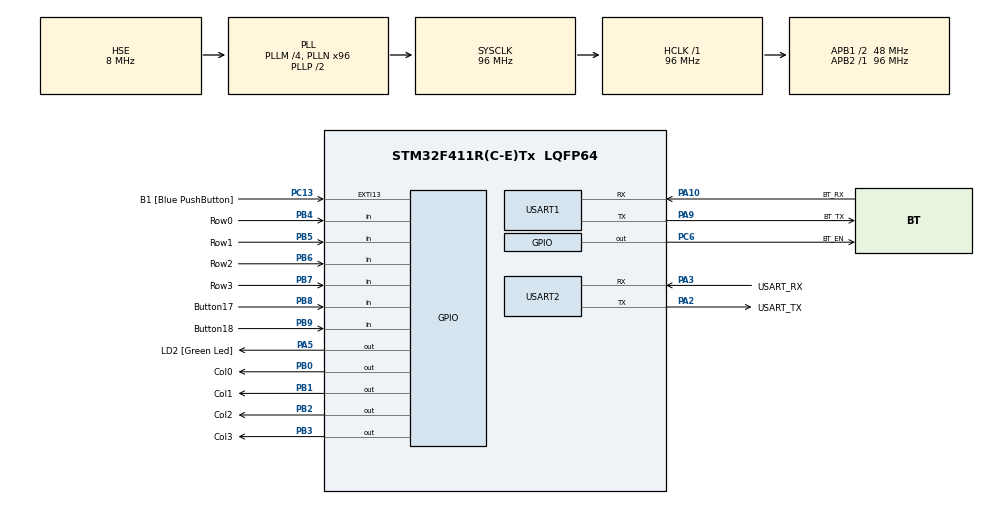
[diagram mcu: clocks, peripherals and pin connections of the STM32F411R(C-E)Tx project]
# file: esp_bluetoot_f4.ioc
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Mcu.Family=STM32F4
Mcu.Name=STM32F411R(C-E)Tx
Mcu.Package=LQFP64
NVIC.PriorityGroup=NVIC_PRIORITYGROUP_0
NVIC.TIM2_IRQn=true\:0\:0\:false\:false\:true\:true\:true\:true
NVIC.TIM3_IRQn=true\:0\:0\:false\:false\:true\:true\:true\:true
PA10.GPIO_Label=BT_RX
PA10.Mode=Asynchronous
PA10.Signal=USART1_RX
PA13.GPIO_Label=TMS
PA13.Mode=Serial_Wire
PA13.Signal=SYS_JTMS-SWDIO
PA14.GPIO_Label=TCK
PA14.Mode=Serial_Wire
PA14.Signal=SYS_JTCK-SWCLK
PA2.GPIO_Label=USART_TX
PA2.Mode=Asynchronous
PA2.Signal=USART2_TX
PA3.GPIO_Label=USART_RX
PA3.Mode=Asynchronous
PA3.Signal=USART2_RX
PA5.GPIO_Label=LD2 [Green Led]
PA5.Signal=GPIO_Output
PA9.GPIO_Label=BT_TX
PA9.Mode=Asynchronous
PA9.Signal=USART1_TX
PB0.GPIO_Label=Col0
PB0.GPIO_ModeDefaultOutputPP=GPIO_MODE_OUTPUT_OD
PB0.GPIO_PuPd=GPIO_NOPULL
PB0.Signal=GPIO_Output
PB1.GPIO_Label=Col1
PB1.GPIO_ModeDefaultOutputPP=GPIO_MODE_OUTPUT_OD
PB1.GPIO_PuPd=GPIO_NOPULL
PB1.Signal=GPIO_Output
PB2.GPIO_Label=Col2
PB2.GPIO_ModeDefaultOutputPP=GPIO_MODE_OUTPUT_OD
PB2.GPIO_PuPd=GPIO_NOPULL
PB2.Signal=GPIO_Output
PB3.GPIO_Label=Col3
PB3.GPIO_ModeDefaultOutputPP=GPIO_MODE_OUTPUT_OD
PB3.GPIO_PuPd=GPIO_NOPULL
PB3.Signal=GPIO_Output
PB4.GPIO_Label=Row0
PB4.GPIO_PuPd=GPIO_PULLUP
PB4.Signal=GPIO_Input
PB5.GPIO_Label=Row1
PB5.GPIO_PuPd=GPIO_PULLUP
PB5.Signal=GPIO_Input
PB6.GPIO_Label=Row2
PB6.GPIO_PuPd=GPIO_PULLUP
PB6.Signal=GPIO_Input
PB7.GPIO_Label=Row3
PB7.GPIO_PuPd=GPIO_PULLUP
PB7.Signal=GPIO_Input
PB8.GPIO_Label=Button17
PB8.GPIO_PuPd=GPIO_PULLDOWN
PB8.Signal=GPIO_Input
PB9.GPIO_Label=Button18
PB9.GPIO_PuPd=GPIO_PULLDOWN
PB9.Signal=GPIO_Input
PC13-ANTI_TAMP.GPIO_Label=B1 [Blue PushButton]
PC13-ANTI_TAMP.GPIO_ModeDefaultEXTI=GPIO_MODE_IT_FALLING
PC13-ANTI_TAMP.Signal=GPXTI13
PC14-OSC32_IN.Mode=LSE-External-Oscillator
PC14-OSC32_IN.Signal=RCC_OSC32_IN
PC15-OSC32_OUT.Mode=LSE-External-Oscillator
PC15-OSC32_OUT.Signal=RCC_OSC32_OUT
PC6.GPIO_Label=BT_EN
PC6.Signal=GPIO_Output
PH0\ -\ OSC_IN.Mode=HSE-External-Clock-Source
PH0\ -\ OSC_IN.Signal=RCC_OSC_IN
PH1\ -\ OSC_OUT.Mode=HSE-External-Clock-Source
PH1\ -\ OSC_OUT.Signal=RCC_OSC_OUT
ProjectManager.HeapSize=0x200
ProjectManager.StackSize=0x400
ProjectManager.TargetToolchain=STM32CubeIDE
RCC.48MHZClocksFreq_Value=48000000
RCC.AHBFreq_Value=96000000
RCC.APB1CLKDivider=RCC_HCLK_DIV2
RCC.APB1Freq_Value=48000000
RCC.APB1TimFreq_Value=96000000
RCC.APB2Freq_Value=96000000
RCC.APB2TimFreq_Value=96000000
RCC.CortexFreq_Value=96000000
RCC.FLatency-AdvancedSettings=FLASH_LATENCY_3
RCC.HCLKFreq_Value=96000000
RCC.HSE_VALUE=8000000
RCC.HSI_VALUE=16000000
RCC.PLLM=4
RCC.PLLN=96
RCC.PLLSourceVirtual=RCC_PLLSOURCE_HSE
RCC.SYSCLKFreq_VALUE=96000000
RCC.SYSCLKSource=RCC_SYSCLKSOURCE_PLLCLK
RCC.VCOOutputFreq_Value=192000000
TIM2.Period=100-1
TIM2.Prescaler=96-1
TIM3.Period=1000-1
TIM3.Prescaler=800-1
USART1.VirtualMode=VM_ASYNC
USART2.VirtualMode=VM_ASYNC
VP_TIM2_VS_ClockSourceINT.Mode=Internal
VP_TIM3_VS_ClockSourceINT.Mode=Internal
board=NUCLEO-F411RE

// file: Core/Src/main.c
/* USER CODE BEGIN Header */
/**
  ******************************************************************************
  * @file           : main.c
  * @brief          : Main program body
  ******************************************************************************
  * @attention
  *
  * Copyright (c) 2024 STMicroelectronics.
  * All rights reserved.
  *
  * This software is licensed under terms that can be found in the LICENSE file
  * in the root directory of this software component.
  * If no LICENSE file comes with this software, it is provided AS-IS.
  *
  ******************************************************************************
  */
/* USER CODE END Header */
#include "main.h"

/* USER CODE BEGIN Includes */
#include <stdio.h>
#include <string.h>
/* USER CODE END Includes */

TIM_HandleTypeDef htim2;
TIM_HandleTypeDef htim3;

UART_HandleTypeDef huart1;
UART_HandleTypeDef huart2;

/* USER CODE BEGIN PV */
volatile int col = 0;
uint8_t buffer[] = {0, 0, 0};
uint8_t cleaned_buffer[] = {0, 0, 0};
uint8_t cleaned_buffer_bt[] = {0xFD, 0, 0, 0};
/* USER CODE END PV */

void SystemClock_Config(void);
static void MX_GPIO_Init(void);
static void MX_USART2_UART_Init(void);
static void MX_USART1_UART_Init(void);
static void MX_TIM2_Init(void);
static void MX_TIM3_Init(void);

/* USER CODE BEGIN 0 */
#ifdef __GNUC__
  /* With GCC, small printf (option LD Linker->Libraries->Small printf
     set to 'Yes') calls __io_putchar() */
int __io_putchar(int ch)
#else
int fputc(int ch, FILE *f)
#endif /* __GNUC__ */
{
  /* Place your implementation of fputc here */
  /* e.g. write a character to the UART3 and Loop until the end of transmission */
  HAL_UART_Transmit(&huart2, (uint8_t *)&ch, 1, HAL_MAX_DELAY);
  return ch;
}
/* USER CODE END 0 */

int main(void)
{

  /* MCU Configuration--------------------------------------------------------*/

  /* Reset of all peripherals, Initializes the Flash interface and the Systick. */
  HAL_Init();

  /* Configure the system clock */
  SystemClock_Config();

  /* Initialize all configured peripherals */
  MX_GPIO_Init();
  MX_USART2_UART_Init();
  MX_USART1_UART_Init();
  MX_TIM2_Init();
  MX_TIM3_Init();
  /* USER CODE BEGIN 2 */
  HAL_TIM_Base_Start_IT(&htim2);
  HAL_TIM_Base_Start_IT(&htim3);
  HAL_GPIO_WritePin(BT_EN_GPIO_Port, BT_EN_Pin, GPIO_PIN_SET);
  /* USER CODE END 2 */

  /* Infinite loop */
  while (1)
  {

  }
}

void SystemClock_Config(void)
{
  RCC_OscInitTypeDef RCC_OscInitStruct = {0};
  RCC_ClkInitTypeDef RCC_ClkInitStruct = {0};

  /** Configure the main internal regulator output voltage
  */
  __HAL_RCC_PWR_CLK_ENABLE();
  __HAL_PWR_VOLTAGESCALING_CONFIG(PWR_REGULATOR_VOLTAGE_SCALE1);

  /** Initializes the RCC Oscillators according to the specified parameters
  * in the RCC_OscInitTypeDef structure.
  */
  RCC_OscInitStruct.OscillatorType = RCC_OSCILLATORTYPE_HSE;
  RCC_OscInitStruct.HSEState = RCC_HSE_BYPASS;
  RCC_OscInitStruct.PLL.PLLState = RCC_PLL_ON;
  RCC_OscInitStruct.PLL.PLLSource = RCC_PLLSOURCE_HSE;
  RCC_OscInitStruct.PLL.PLLM = 4;
  RCC_OscInitStruct.PLL.PLLN = 96;
  RCC_OscInitStruct.PLL.PLLP = RCC_PLLP_DIV2;
  RCC_OscInitStruct.PLL.PLLQ = 4;
  if (HAL_RCC_OscConfig(&RCC_OscInitStruct) != HAL_OK)
  {
    Error_Handler();
  }

  /** Initializes the CPU, AHB and APB buses clocks
  */
  RCC_ClkInitStruct.ClockType = RCC_CLOCKTYPE_HCLK|RCC_CLOCKTYPE_SYSCLK
                              |RCC_CLOCKTYPE_PCLK1|RCC_CLOCKTYPE_PCLK2;
  RCC_ClkInitStruct.SYSCLKSource = RCC_SYSCLKSOURCE_PLLCLK;
  RCC_ClkInitStruct.AHBCLKDivider = RCC_SYSCLK_DIV1;
  RCC_ClkInitStruct.APB1CLKDivider = RCC_HCLK_DIV2;
  RCC_ClkInitStruct.APB2CLKDivider = RCC_HCLK_DIV1;

  if (HAL_RCC_ClockConfig(&RCC_ClkInitStruct, FLASH_LATENCY_3) != HAL_OK)
  {
    Error_Handler();
  }
}

static void MX_TIM2_Init(void)
{

  TIM_ClockConfigTypeDef sClockSourceConfig = {0};
  TIM_MasterConfigTypeDef sMasterConfig = {0};

  htim2.Instance = TIM2;
  htim2.Init.Prescaler = 96-1;
  htim2.Init.CounterMode = TIM_COUNTERMODE_UP;
  htim2.Init.Period = 100-1;
  htim2.Init.ClockDivision = TIM_CLOCKDIVISION_DIV1;
  htim2.Init.AutoReloadPreload = TIM_AUTORELOAD_PRELOAD_DISABLE;
  if (HAL_TIM_Base_Init(&htim2) != HAL_OK)
  {
    Error_Handler();
  }
  sClockSourceConfig.ClockSource = TIM_CLOCKSOURCE_INTERNAL;
  if (HAL_TIM_ConfigClockSource(&htim2, &sClockSourceConfig) != HAL_OK)
  {
    Error_Handler();
  }
  sMasterConfig.MasterOutputTrigger = TIM_TRGO_RESET;
  sMasterConfig.MasterSlaveMode = TIM_MASTERSLAVEMODE_DISABLE;
  if (HAL_TIMEx_MasterConfigSynchronization(&htim2, &sMasterConfig) != HAL_OK)
  {
    Error_Handler();
  }

}

static void MX_TIM3_Init(void)
{

  TIM_ClockConfigTypeDef sClockSourceConfig = {0};
  TIM_MasterConfigTypeDef sMasterConfig = {0};

  htim3.Instance = TIM3;
  htim3.Init.Prescaler = 800-1;
  htim3.Init.CounterMode = TIM_COUNTERMODE_UP;
  htim3.Init.Period = 1000-1;
  htim3.Init.ClockDivision = TIM_CLOCKDIVISION_DIV1;
  htim3.Init.AutoReloadPreload = TIM_AUTORELOAD_PRELOAD_DISABLE;
  if (HAL_TIM_Base_Init(&htim3) != HAL_OK)
  {
    Error_Handler();
  }
  sClockSourceConfig.ClockSource = TIM_CLOCKSOURCE_INTERNAL;
  if (HAL_TIM_ConfigClockSource(&htim3, &sClockSourceConfig) != HAL_OK)
  {
    Error_Handler();
  }
  sMasterConfig.MasterOutputTrigger = TIM_TRGO_RESET;
  sMasterConfig.MasterSlaveMode = TIM_MASTERSLAVEMODE_DISABLE;
  if (HAL_TIMEx_MasterConfigSynchronization(&htim3, &sMasterConfig) != HAL_OK)
  {
    Error_Handler();
  }

}

static void MX_USART1_UART_Init(void)
{

  huart1.Instance = USART1;
  huart1.Init.BaudRate = 115200;
  huart1.Init.WordLength = UART_WORDLENGTH_8B;
  huart1.Init.StopBits = UART_STOPBITS_1;
  huart1.Init.Parity = UART_PARITY_NONE;
  huart1.Init.Mode = UART_MODE_TX_RX;
  huart1.Init.HwFlowCtl = UART_HWCONTROL_NONE;
  huart1.Init.OverSampling = UART_OVERSAMPLING_16;
  if (HAL_UART_Init(&huart1) != HAL_OK)
  {
    Error_Handler();
  }

}

static void MX_USART2_UART_Init(void)
{

  huart2.Instance = USART2;
  huart2.Init.BaudRate = 115200;
  huart2.Init.WordLength = UART_WORDLENGTH_8B;
  huart2.Init.StopBits = UART_STOPBITS_1;
  huart2.Init.Parity = UART_PARITY_NONE;
  huart2.Init.Mode = UART_MODE_TX_RX;
  huart2.Init.HwFlowCtl = UART_HWCONTROL_NONE;
  huart2.Init.OverSampling = UART_OVERSAMPLING_16;
  if (HAL_UART_Init(&huart2) != HAL_OK)
  {
    Error_Handler();
  }

}

static void MX_GPIO_Init(void)
{
  GPIO_InitTypeDef GPIO_InitStruct = {0};

  /* GPIO Ports Clock Enable */
  __HAL_RCC_GPIOC_CLK_ENABLE();
  __HAL_RCC_GPIOH_CLK_ENABLE();
  __HAL_RCC_GPIOA_CLK_ENABLE();
  __HAL_RCC_GPIOB_CLK_ENABLE();

  /*Configure GPIO pin Output Level */
  HAL_GPIO_WritePin(LD2_GPIO_Port, LD2_Pin, GPIO_PIN_RESET);

  /*Configure GPIO pin Output Level */
  HAL_GPIO_WritePin(GPIOB, Col0_Pin|Col1_Pin|Col2_Pin|Col3_Pin, GPIO_PIN_RESET);

  /*Configure GPIO pin Output Level */
  HAL_GPIO_WritePin(BT_EN_GPIO_Port, BT_EN_Pin, GPIO_PIN_RESET);

  /*Configure GPIO pin : B1_Pin */
  GPIO_InitStruct.Pin = B1_Pin;
  GPIO_InitStruct.Mode = GPIO_MODE_IT_FALLING;
  GPIO_InitStruct.Pull = GPIO_NOPULL;
  HAL_GPIO_Init(B1_GPIO_Port, &GPIO_InitStruct);

  /*Configure GPIO pin : LD2_Pin */
  GPIO_InitStruct.Pin = LD2_Pin;
  GPIO_InitStruct.Mode = GPIO_MODE_OUTPUT_PP;
  GPIO_InitStruct.Pull = GPIO_NOPULL;
  GPIO_InitStruct.Speed = GPIO_SPEED_FREQ_LOW;
  HAL_GPIO_Init(LD2_GPIO_Port, &GPIO_InitStruct);

  /*Configure GPIO pins : Col0_Pin Col1_Pin Col2_Pin Col3_Pin */
  GPIO_InitStruct.Pin = Col0_Pin|Col1_Pin|Col2_Pin|Col3_Pin;
  GPIO_InitStruct.Mode = GPIO_MODE_OUTPUT_OD;
  GPIO_InitStruct.Pull = GPIO_NOPULL;
  GPIO_InitStruct.Speed = GPIO_SPEED_FREQ_LOW;
  HAL_GPIO_Init(GPIOB, &GPIO_InitStruct);

  /*Configure GPIO pin : BT_EN_Pin */
  GPIO_InitStruct.Pin = BT_EN_Pin;
  GPIO_InitStruct.Mode = GPIO_MODE_OUTPUT_PP;
  GPIO_InitStruct.Pull = GPIO_NOPULL;
  GPIO_InitStruct.Speed = GPIO_SPEED_FREQ_LOW;
  HAL_GPIO_Init(BT_EN_GPIO_Port, &GPIO_InitStruct);

  /*Configure GPIO pins : Row0_Pin Row1_Pin Row2_Pin Row3_Pin */
  GPIO_InitStruct.Pin = Row0_Pin|Row1_Pin|Row2_Pin|Row3_Pin;
  GPIO_InitStruct.Mode = GPIO_MODE_INPUT;
  GPIO_InitStruct.Pull = GPIO_PULLUP;
  HAL_GPIO_Init(GPIOB, &GPIO_InitStruct);

  /*Configure GPIO pins : Button17_Pin Button18_Pin */
  GPIO_InitStruct.Pin = Button17_Pin|Button18_Pin;
  GPIO_InitStruct.Mode = GPIO_MODE_INPUT;
  GPIO_InitStruct.Pull = GPIO_PULLDOWN;
  HAL_GPIO_Init(GPIOB, &GPIO_InitStruct);

}

/* USER CODE BEGIN 4 */
void buttons_init(void) {
	  GPIOB->BSRR = 0xf;
	  GPIOB->BSRR = 0x1 << 16;
}

void drive_column(void) {
	col = (col + 1) & 0x3;
	GPIOB->BSRR = 0xf;
	GPIOB->BSRR = 0x1 << (col + 16);
}

uint8_t read_rows(void) {
	return ~((GPIOB->IDR & 0xf0) >> 4) & 0xf;
}

void clean_buffer_bt(void) {
	cleaned_buffer_bt[1] = cleaned_buffer[0];
	cleaned_buffer_bt[2] = cleaned_buffer[1];
	cleaned_buffer_bt[3] = cleaned_buffer[2];
	printf("cleaned_buffer_bt, 0:%X, 1:%X, 2:%X, 3:%X\r\n", cleaned_buffer_bt[0], cleaned_buffer_bt[1], cleaned_buffer_bt[2], cleaned_buffer_bt[3]);
}

void clean_buffer(void) {
	cleaned_buffer[0] = buffer[0];
	cleaned_buffer[1] = buffer[1];
	cleaned_buffer[2] = buffer[2] & 0x01;
	if (cleaned_buffer[0] & 0x01 && cleaned_buffer[0] & 0x04) {
		cleaned_buffer[0] &= ~0x04;
	}
	if (cleaned_buffer[0] & 0x02 && cleaned_buffer[0] & 0x08) {
		cleaned_buffer[0] &= ~0x0A;
	}
}

void right_stick_emulate(void) {
	if (buffer[2] & 0x02) {
//		printf("cleaning %X, ", cleaned_buffer[2]);
//		printf("[0], %X\r\n", cleaned_buffer[0] & 0x0f);
		cleaned_buffer[2] |= ((cleaned_buffer[0] & 0x0f) << 1);
//		printf("cleaned %X\r\n", cleaned_buffer[2]);
		cleaned_buffer[0] &= ~0x0f;
//		cleaned_buffer[1] &= ~0x70;
	}
//	printf("cleaned_buffer, 0:%X, 1:%X, 2:%X\r\n", cleaned_buffer[0], cleaned_buffer[1], cleaned_buffer[2]);
}

void HAL_TIM_PeriodElapsedCallback(TIM_HandleTypeDef *htim) {
	if (htim == &htim2) {
		uint8_t rows = read_rows();
		int idx = col / 2;
		buffer[idx] &= ~(0xf << ((col % 2) * 4));
		buffer[idx] |= rows << ((col % 2) * 4);
		drive_column();
		buffer[2] = HAL_GPIO_ReadPin(Button17_GPIO_Port, Button17_Pin) | HAL_GPIO_ReadPin(Button18_GPIO_Port, Button18_Pin) << 1;
	}

	if (htim == &htim3) {
		clean_buffer();
		right_stick_emulate();
		clean_buffer_bt();
		HAL_UART_Transmit(&huart1, cleaned_buffer_bt, sizeof(cleaned_buffer_bt), HAL_MAX_DELAY);
	}
}
/* USER CODE END 4 */

void Error_Handler(void)
{
  __disable_irq();
  while (1)
  {
  }
}
